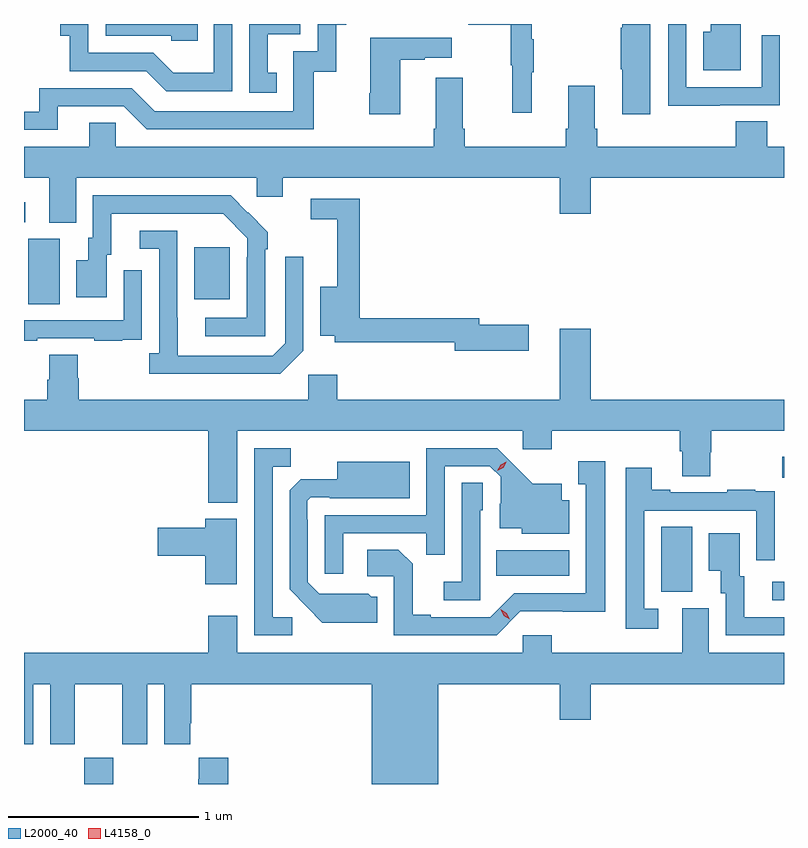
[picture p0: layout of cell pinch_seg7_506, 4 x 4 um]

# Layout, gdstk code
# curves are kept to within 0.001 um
import gdstk
lib = gdstk.Library(unit=1e-6, precision=1e-09)
def R(c, l, rs):  # rectangles x0, y0, x1, y1
    for r in rs: c.add(gdstk.rectangle(r[:2], r[2:], *l))
def P(c, l, *ps):  # polygons
    for p in ps: c.add(gdstk.Polygon(p, *l))
L2000_40 = (2000, 40)
L4158_0 = (4158, 0)

pinch_seg7_506 = lib.new_cell('pinch_seg7_506')
R(pinch_seg7_506, L2000_40, [(114.553,1074.682,114.708,1074.82), (118.176,1075.65,118.237,1075.746), (117.59,1075.693,117.754,1076.036), (116.722,1075.778,117.106,1075.912), (118.227,1076.294,118.237,1076.404), (114.26,1077.208,114.424,1077.552), (115.133,1077.233,115.321,1077.508), (114.237,1077.639,114.244,1077.745)])
P(pinch_seg7_506, L2000_40, [(115.151,1078.682),(114.666,1078.682),(114.666,1078.62),(115.011,1078.62),(115.011,1078.593),(115.151,1078.593)],
  [(115.568,1078.425),(115.519,1078.425),(115.519,1078.629),(115.692,1078.629),(115.692,1078.682),(115.422,1078.682),(115.422,1078.32),(115.568,1078.32)],
  [(114.415,1078.248),(114.762,1078.248),(114.882,1078.128),(115.762,1078.128),(115.762,1078.431),(115.88,1078.431),(115.88,1078.677),(115.933,1078.677),(115.933,1078.682),(115.782,1078.682),(115.782,1078.539),(115.653,1078.539),(115.653,1078.224),(114.924,1078.224),(114.804,1078.344),(114.318,1078.344),(114.318,1078.221),(114.237,1078.221),(114.237,1078.125),(114.415,1078.125)],
  [(117.899,1078.254),(118.215,1078.254),(118.215,1078.624),(118.119,1078.624),(118.119,1078.35),(117.723,1078.35),(117.723,1078.682),(117.627,1078.682),(117.627,1078.253),(117.899,1078.253)],
  [(118.009,1078.682),(117.851,1078.682),(117.851,1078.642),(117.812,1078.642),(117.812,1078.439),(118.009,1078.439)],
  [(117.532,1078.682),(117.386,1078.682),(117.386,1078.661),(117.379,1078.661),(117.379,1078.444),(117.386,1078.444),(117.386,1078.206),(117.532,1078.206)],
  [(116.909,1078.427),(116.92,1078.427),(116.92,1078.601),(116.909,1078.601),(116.909,1078.682),(116.575,1078.682),(116.575,1078.678),(116.799,1078.678),(116.799,1078.464),(116.806,1078.464),(116.806,1078.215),(116.909,1078.215)],
  [(115.332,1078.682),(115.236,1078.682),(115.236,1078.426),(115.022,1078.426),(114.918,1078.53),(114.576,1078.53),(114.576,1078.682),(114.429,1078.682),(114.429,1078.619),(114.478,1078.619),(114.478,1078.434),(114.881,1078.434),(114.986,1078.329),(115.332,1078.329)],
  [(116.218,1078.495),(116.345,1078.495),(116.345,1078.505),(116.488,1078.505),(116.488,1078.609),(116.06,1078.609),(116.06,1078.318),(116.053,1078.318),(116.053,1078.206),(116.218,1078.206)],
  [(114.511,1077.872),(115.461,1077.872),(115.461,1077.774),(115.6,1077.774),(115.6,1077.872),(117.056,1077.872),(117.056,1077.684),(117.22,1077.684),(117.22,1077.872),(118.237,1077.872),(118.237,1078.036),(118.148,1078.036),(118.148,1078.169),(117.983,1078.169),(117.983,1078.036),(117.254,1078.036),(117.254,1078.132),(117.241,1078.132),(117.241,1078.357),(117.101,1078.357),(117.101,1078.132),(117.089,1078.132),(117.089,1078.036),(116.558,1078.036),(116.558,1078.132),(116.545,1078.132),(116.545,1078.399),(116.405,1078.399),(116.405,1078.132),(116.393,1078.132),(116.393,1078.036),(114.72,1078.036),(114.72,1078.163),(114.581,1078.163),(114.581,1078.036),(114.237,1078.036),(114.237,1077.872),(114.371,1077.872),(114.371,1077.637),(114.511,1077.637)],
  [(115.506,1077.497),(115.521,1077.497),(115.521,1077.585),(115.324,1077.78),(114.6,1077.78),(114.6,1077.558),(114.575,1077.558),(114.575,1077.439),(114.512,1077.439),(114.512,1077.243),(114.673,1077.243),(114.673,1077.468),(114.697,1077.468),(114.697,1077.684),(115.285,1077.684),(115.413,1077.555),(115.413,1077.455),(115.41,1077.455),(115.41,1077.135),(115.191,1077.135),(115.191,1077.039),(115.506,1077.039)],
  [(116.893,1077.098),(116.632,1077.098),(116.632,1077.134),(116.003,1077.134),(116.003,1077.762),(115.746,1077.762),(115.746,1077.654),(115.886,1077.654),(115.886,1077.298),(115.796,1077.298),(115.796,1077.041),(115.872,1077.041),(115.872,1077.006),(116.504,1077.006),(116.504,1076.963),(116.893,1076.963)],
  [(115.707,1076.961),(115.707,1077.457),(115.611,1077.457),(115.611,1077.003),(115.545,1076.937),(115.045,1076.937),(115.044,1077.594),(114.846,1077.594),(114.846,1077.498),(114.948,1077.498),(114.948,1076.95),(114.897,1076.95),(114.897,1076.84),(115.586,1076.84)],
  [(114.307,1077.027),(114.607,1077.027),(114.607,1077.015),(114.755,1077.015),(114.755,1077.021),(114.857,1077.021),(114.857,1077.13),(114.858,1077.13),(114.858,1077.385),(114.762,1077.385),(114.762,1077.123),(114.237,1077.123),(114.237,1077.015),(114.307,1077.015)],
  [(115.36,1076.54),(116.862,1076.54),(116.862,1076.445),(117.014,1076.445),(117.014,1076.54),(117.689,1076.54),(117.689,1076.434),(117.701,1076.434),(117.701,1076.302),(117.849,1076.302),(117.849,1076.427),(117.854,1076.427),(117.854,1076.54),(118.237,1076.54),(118.237,1076.704),(117.22,1076.704),(117.22,1077.079),(117.056,1077.079),(117.056,1076.704),(115.886,1076.704),(115.886,1076.836),(115.734,1076.836),(115.734,1076.704),(114.524,1076.704),(114.524,1076.817),(114.519,1076.817),(114.519,1076.942),(114.371,1076.942),(114.371,1076.81),(114.359,1076.81),(114.359,1076.704),(114.237,1076.704),(114.237,1076.54),(115.208,1076.54),(115.208,1076.162),(115.36,1076.162)],
  [(115.917,1076.001),(116.353,1076.001),(116.353,1075.888),(116.451,1075.888),(116.451,1076.355),(116.688,1076.355),(116.745,1076.298),(116.745,1076.156),(116.741,1076.156),(116.741,1076.027),(116.856,1076.027),(116.856,1076),(117.106,1076),(117.106,1076.176),(117.067,1076.176),(117.067,1076.263),(116.915,1076.263),(116.728,1076.448),(116.355,1076.448),(116.355,1076.097),(115.821,1076.097),(115.821,1075.788),(115.917,1075.788)],
  [(115.648,1075.56),(115.545,1075.56),(115.545,1076.353),(115.641,1076.353),(115.641,1076.448),(115.449,1076.448),(115.449,1075.464),(115.648,1075.464)],
  [(116.85,1075.59),(117.295,1075.589),(117.295,1076.38),(117.155,1076.38),(117.155,1076.259),(117.194,1076.259),(117.194,1075.686),(116.817,1075.686),(116.691,1075.56),(116.377,1075.56),(116.377,1075.573),(116.283,1075.573),(116.283,1075.84),(116.207,1075.916),(116.043,1075.916),(116.043,1075.776),(116.184,1075.776),(116.184,1075.464),(116.724,1075.464)],
  [(116.095,1075.668),(116.064,1075.668),(116.048,1075.684),(115.791,1075.683),(115.731,1075.743),(115.731,1076.072),(115.728,1076.072),(115.728,1076.172),(115.746,1076.19),(115.846,1076.19),(115.846,1076.186),(116.266,1076.186),(116.266,1076.377),(115.886,1076.377),(115.886,1076.287),(115.694,1076.287),(115.635,1076.228),(115.635,1075.706),(115.807,1075.532),(116.095,1075.532)],
  [(117.574,1075.605),(117.501,1075.605),(117.501,1076.121),(118.092,1076.121),(118.092,1075.86),(118.188,1075.86),(118.188,1076.114),(118.187,1076.114),(118.187,1076.223),(118.085,1076.223),(118.085,1076.23),(117.937,1076.23),(117.937,1076.217),(117.637,1076.217),(117.637,1076.23),(117.541,1076.23),(117.541,1076.347),(117.405,1076.347),(117.405,1075.5),(117.574,1075.5)],
  [(116.637,1076.124),(116.652,1076.124),(116.652,1076.267),(116.541,1076.267),(116.541,1075.747),(116.445,1075.747),(116.445,1075.65),(116.637,1075.65)],
  [(115.357,1076.077),(115.19,1076.077),(115.19,1076.03),(114.942,1076.03),(114.942,1075.883),(115.19,1075.883),(115.19,1075.734),(115.357,1075.734)],
  [(118.237,1075.56),(118.027,1075.56),(118.027,1075.776),(118.003,1075.776),(118.003,1076.002),(117.842,1076.002),(117.842,1075.805),(117.905,1075.805),(117.905,1075.686),(117.93,1075.686),(117.93,1075.464),(118.237,1075.464)],
  [(116.416,1075.208),(117.056,1075.208),(117.056,1075.02),(117.22,1075.02),(117.22,1075.208),(118.237,1075.208),(118.237,1075.372),(117.841,1075.372),(117.841,1075.608),(117.701,1075.608),(117.701,1075.372),(117.014,1075.372),(117.014,1075.465),(116.862,1075.465),(116.862,1075.372),(115.36,1075.372),(115.36,1075.567),(115.208,1075.567),(115.208,1075.372),(114.237,1075.372),(114.237,1074.891),(114.286,1074.891),(114.286,1075.208),(114.374,1075.208),(114.374,1074.891),(114.505,1074.891),(114.505,1075.208),(114.755,1075.208),(114.755,1074.891),(114.886,1074.891),(114.886,1075.208),(114.974,1075.208),(114.974,1074.891),(115.111,1074.891),(115.111,1075.003),(115.118,1075.003),(115.118,1075.208),(116.066,1075.208),(116.066,1074.682),(116.416,1074.682)],
  [(115.313,1074.82),(115.157,1074.82),(115.157,1074.707),(115.153,1074.707),(115.153,1074.682),(115.313,1074.682)])
P(pinch_seg7_506, L4158_0, [(116.794,1075.549),(116.763,1075.568),(116.746,1075.601),(116.746,1075.602),(116.746,1075.602),(116.778,1075.582),(116.794,1075.549),(116.794,1075.549)],
  [(116.729,1076.331),(116.729,1076.331),(116.745,1076.361),(116.776,1076.377),(116.776,1076.377),(116.776,1076.376),(116.759,1076.347),(116.729,1076.331)])

lib.write_gds('pinch_seg7_506.gds')
